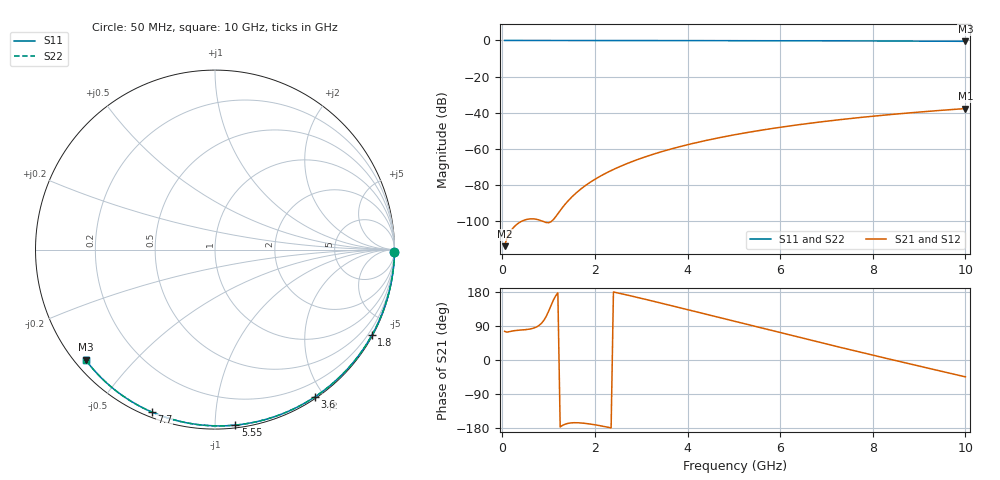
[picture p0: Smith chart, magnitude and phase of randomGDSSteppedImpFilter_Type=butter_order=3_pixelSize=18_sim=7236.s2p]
! freq	dB(S11)	phase(S11)	dB(S12)	phase(S12)
!  dB(S21)	phase(S21)	dB(S22)	phase(S22)
!S-par simulation data
#  GHz  S  DB  R 50
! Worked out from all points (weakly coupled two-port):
!   200 points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, 50 MHz to 10 GHz, reference 50 ohm
!   highest |S21| = -37.76 dB at 10 GHz (marker M1); lowest = -114.0 dB at 50 MHz (marker M2)
!   lowest |S11| = -0.5 dB at 10 GHz (marker M3), VSWR 36.61, Z = 1.55 - j18.4 ohm
!   |S11| at or under -10 dB: nowhere
!   |S22| runs from -0.5 to 0.0 dB; largest |S21 - S12| = 0
!   S11 on the Smith chart (normalised r, x): 50 MHz: open; 1.8 GHz: 0.03, -3.92; 3.6 GHz: 0.02, -1.88; 5.55 GHz: 0.02, -1.12; 7.7 GHz: 0.02, -0.68; 10 GHz: 0.03, -0.37
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0.05  -0.00 -0.8  -114.04 75.6  -114.04 75.6  -0.00 -0.8
0.45  -0.01 -7.3  -99.86 79.5  -99.86 79.5  -0.01 -7.3
0.9  -0.02 -14.5  -100.55 105.1  -100.55 105.1  -0.02 -14.5
1.75  -0.04 -27.9  -81.29 -166.7  -81.29 -166.7  -0.04 -27.9
1.8  -0.04 -28.6  -80.35 -167.3  -80.35 -167.3  -0.04 -28.6
1.85  -0.04 -29.4  -79.45 -168.1  -79.45 -168.1  -0.04 -29.4
2  -0.04 -31.7  -76.98 -170.9  -76.98 -170.9  -0.04 -31.7
2.15  -0.04 -34.1  -74.75 -174.3  -74.75 -174.3  -0.04 -34.1
2.35  -0.05 -37.1  -72.12 -179.2  -72.12 -179.2  -0.05 -37.1
2.55  -0.05 -40.2  -69.78 175.5  -69.78 175.5  -0.05 -40.2
2.95  -0.06 -46.3  -65.74 164.2  -65.74 164.2  -0.06 -46.3
3.4  -0.07 -53.0  -61.96 151.0  -61.96 151.0  -0.07 -53.0
3.6  -0.08 -55.9  -60.48 145.0  -60.48 145.0  -0.08 -55.9
4.3  -0.09 -66.0  -56.00 123.7  -56.00 123.7  -0.09 -66.0
5.05  -0.12 -76.6  -52.12 100.9  -52.12 100.9  -0.12 -76.6
5.55  -0.14 -83.4  -49.92 85.7  -49.92 85.7  -0.14 -83.4
6.1  -0.16 -90.8  -47.77 69.1  -47.77 69.1  -0.16 -90.8
6.7  -0.19 -98.6  -45.71 51.2  -45.71 51.2  -0.19 -98.6
7.7  -0.26 -111.3  -42.78 21.6  -42.78 21.6  -0.26 -111.3
8.35  -0.31 -119.4  -41.15 2.7  -41.15 2.7  -0.31 -119.4
9.2  -0.39 -129.8  -39.29 -21.7  -39.29 -21.7  -0.39 -129.8
10  -0.47 -139.6  -37.76 -44.4  -37.76 -44.4  -0.47 -139.6
